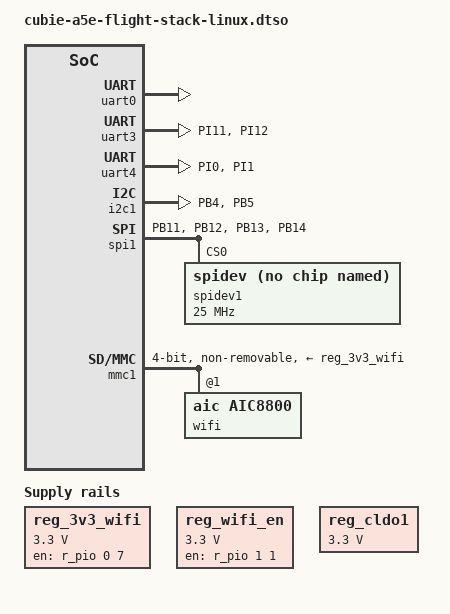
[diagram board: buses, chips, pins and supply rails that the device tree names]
// SPDX-License-Identifier: (GPL-2.0-only OR MIT)
// @impl [SPEC-GPS-01] [SPEC-HAL-02] docs/DESIGN_SPECIFICATION.md
/dts-v1/;
/plugin/;

/*
 * ============================================================================
 *         RADXA CUBIE A5E — FLIGHT STACK OVERLAY (LINUX HOST PROFILE)
 * ============================================================================
 * Configuration for Linux Host (ARM Cortex-A55) control of 40-pin header peripherals.
 * Verified against Radxa Cubie A5E Schematic v1.2 (2025-01-13) & A527 PINOUT V0.92.
 *
 * Physical 40-Pin Header Layout Mapping & Wire Colors:
 * 
 *                  3.3V Power [ 1] [ 2] 5V Power (Red Wire -> GPS VCC)
 *   (Blue Wire)  I2C1-SDA PB5 [ 3] [ 4] 5V Power
 * (Orange Wire)  I2C1-SCL PB4 [ 5] [ 6] GND      (Black Wire -> GPS GND)
 *               SPI2-CLK  PI7 [ 7] [ 8] UART0-TX (PB9 - Linux Serial Console)
 *                         GND [ 9] [10] UART0-RX (PB10 - Linux Serial Console)
 *               GPIO/PWM  PI9 [11] [12] SPI1-CS0 (PI2 / Alternate)
 *               GPIO/PWM PI10 [13] [14] GND
 *             S-UART0-TX PL12 [15] [16] UART3-TX (PI11 - A5E TX -> GPS RX Yellow Wire)
 *                  3.3V Power [17] [18] GPIO/PWM (PI14)
 *   [Dual-SPI]  SPI1-MOSI PB13[19] [20] GND
 *   [Dual-SPI]  SPI1-MISO PB14[21] [22] FPGA Frame Ready ISR (PL13)
 *   [Dual-SPI]  SPI1-CLK  PB12[23] [24] SPI1-CS0 (PB11 - FPGA Chip Select)
 *                         GND [25] [26] UART4-TX / IMU-CS1 (PI0)
 *               I2C2-SDA PI16 [27] [28] I2C2-SCK (PI15)
 *      IMU DRDY (PI8 / EINT8) [29] [30] GND
 * (GPS TX Green) UART3-RX PI12[31] [32] UART4-RX (PI1)
 *               SPI2-CS0  PI6 [33] [34] GND
 *               GPIO     PI13 [35] [36] SPI1-CLK (PI3)
 *               GPADC2        [37] [38] SPI1-MISO (PI5)
 *                         GND [39] [40] SPI1-MOSI (PI4)
 *
 * Wiring Guide for u-blox NEO-M8N GPS + Compass Puck:
 *  - Pin 2  : 5V Power (5V_VCC)     <--- Red Wire   (GPS VCC)
 *  - Pin 6  : Ground (GND)          <--- Black Wire (GPS GND)
 *  - Pin 3  : I2C1-SDA (PB5 / TWI1) <--- Blue Wire  (Compass / DDC SDA)
 *  - Pin 5  : I2C1-SCL (PB4 / TWI1) <--- Orange Wire(Compass / DDC SCL)
 *  - Pin 16 : UART3-TX (PI11)       ---> Yellow Wire(GPS RX - Commands to GPS)
 *  - Pin 31 : UART3-RX (PI12)       <--- Green Wire (GPS TX - NMEA data from GPS)
 *
 * CRITICAL WIRING & PINMUX RULES:
 *  1. Serial Crossover:
 *     - GPS Green Wire is GPS TX -> connects to A5E RX (Pin 31 / PI12).
 *     - GPS Yellow Wire is GPS RX -> connects to A5E TX (Pin 16 / PI11).
 *     - Schematics prove PB0/PB1 (UART2) are NC on PCB; Pins 11 & 13 connect to
 *       PI9/PI10 without UART hardware. UART3 on Pins 16 & 31 is the navigation port.
 *  2. I2C Pull-Up Resistors:
 *     - Pins 3 & 5 (PB5/PB4) have NO internal pull-ups in pinctrl (`bias-pull-up`
 *       is intentionally omitted) because the GPS puck integrates 2.2kΩ-4.7kΩ pull-ups.
 *  3. Linux Device Mapping:
 *     - Pins 3 & 5   : I2C1 (PB5=SDA, PB4=SCL) -> Linux /dev/i2c-1
 *     - Pins 8 & 10  : UART0 (PB9=TX, PB10=RX) -> Linux Serial Console /dev/ttyS0
 *     - Pins 16 & 31 : UART3 (PI11=TX, PI12=RX) -> GPS Serial Port /dev/ttyAS3 (serial3 alias)
 *     - Pins 26 & 32 : UART4 (PI0=TX, PI1=RX) -> Auxiliary Serial Port /dev/ttyAS4 (serial4 alias)
 *     - Pins 24,23,19,21: SPI1 (PB11=CS0, PB12=CLK, PB13=MOSI/IO0, PB14=MISO/IO1) -> /dev/spidev1.0
 *     - Pin 29       : IMU DRDY Interrupt (PI8 / PI-EINT8)
 *     - M.2 M-Key    : PCIe 2.0 x1 slot (J28: PH11, PH12, PH19, PL7) - No 40-pin conflicts.
 * ============================================================================
 */

/* UART0: Debug Console Terminal for Linux Host (Pins 8 and 10) */
&uart0 {
    status = "okay";
};

/* UART3: High-Speed Navigation Serial Port for GPS (Pins 16 and 31) */
&uart3 {
    pinctrl-names = "default";
    pinctrl-0 = <&uart3_pi_pins>;
    status = "okay";
};

/* UART4: Auxiliary Serial Port (Pins 26 and 32) */
&uart4 {
    pinctrl-names = "default";
    pinctrl-0 = <&uart4_pi_pins>;
    status = "okay";
};

/* SPI0: Port C unrouted on 40-pin header - Disabled in Linux */
&spi0 {
    status = "disabled";
};

&{/aliases} {
    ethernet0 = "/soc/ethernet@4500000";
    ethernet1 = "/soc/ethernet@4510000";
    serial0 = "/soc/serial@2500000";
    serial3 = "/soc/serial@2500c00";
    serial4 = "/soc/serial@2501000";
    i2c1 = "/soc/i2c@2502400";
    spi1 = "/soc/spi@4026000";
    mmc0 = "/soc/mmc@4020000";
    mmc1 = "/soc/mmc@4021000";
};

&{/} {
    cubie-flight-stack-version = "1.6-linux";

    /* PL7 (Bank 0, Pin 7, Active High): Hardware 3.3V Power Switch for AIC8800 Wi-Fi/BT */
    reg_3v3_wifi: 3v3-wifi {
        compatible = "regulator-fixed";
        regulator-name = "3v3-wifi";
        regulator-min-microvolt = <3300000>;
        regulator-max-microvolt = <3300000>;
        gpio = <&r_pio 0 7 0>;
        enable-active-high;
        regulator-always-on;
    };

    /* PM1 (Bank 1, Pin 1, Active High): Hardware Enable / WL_REG_ON */
    reg_wifi_en: wifi-en {
        compatible = "regulator-fixed";
        regulator-name = "wifi-en";
        regulator-min-microvolt = <3300000>;
        regulator-max-microvolt = <3300000>;
        gpio = <&r_pio 1 1 0>;
        enable-active-high;
        regulator-always-on;
        startup-delay-us = <100000>;
    };
};

/* Configure Port C and Port K IO rail to 3.3V for 40-pin header peripherals */
&reg_cldo1 {
    regulator-min-microvolt = <3300000>;
    regulator-max-microvolt = <3300000>;
    regulator-always-on;
};

&reg_bldo1 {
    regulator-always-on;
};

/* Pinmux Controller Configurations for 40-Pin Header */
&pio {
    i2c1_pb_pins: i2c1-pb-pins {
        pins = "PB4", "PB5";
        function = "i2c1";
        allwinner,pinmux = <2>;
    };

    uart3_pi_pins: uart3-pi-pins {
        pins = "PI11", "PI12";
        function = "uart3";
        allwinner,pinmux = <2>;
    };

    uart4_pi_pins: uart4-pi-pins {
        pins = "PI0", "PI1";
        function = "uart4";
        allwinner,pinmux = <3>;
    };

    spi1_pb_pins: spi1-pb-pins {
        pins = "PB11", "PB12", "PB13", "PB14";
        function = "spi1";
        allwinner,pinmux = <4>;
    };
};

/* I2C1: General Expansion Bus (Pins 3 & 5: PB5=SDA, PB4=SCL) */
&i2c1 {
    pinctrl-names = "default";
    pinctrl-0 = <&i2c1_pb_pins>;
    status = "okay";
};

/* SPI1: High-Speed Dual-SPI / Single-SPI Bus (Pins 24, 23, 19, 21: PB11-PB14) */
&spi1 {
    pinctrl-names = "default";
    pinctrl-0 = <&spi1_pb_pins>;
    status = "okay";
    #address-cells = <1>;
    #size-cells = <0>;
    num-cs = <1>;

    /* User-space SPIDEV node (/dev/spidev1.0) */
    spidev1@0 {
        compatible = "rohm,dh2228fv";
        reg = <0>;
        spi-max-frequency = <25000000>;
        status = "okay";
    };
};

&mmc1 {
    /* Enumerate the onboard AIC8800 SDIO WLAN device on MMC host 1 */
    #address-cells = <1>;
    #size-cells = <0>;
    bus-width = <4>;
    max-frequency = <25000000>;
    non-removable;
    keep-power-in-suspend;
    pinctrl-names = "default";
    pinctrl-0 = <&mmc1_pins>;
    vmmc-supply = <&reg_3v3_wifi>;
    vqmmc-supply = <&reg_bldo1>;
    status = "okay";

    wifi: wifi@1 {
        reg = <1>;
        compatible = "aic,aic8800";
        status = "okay";
    };
};
